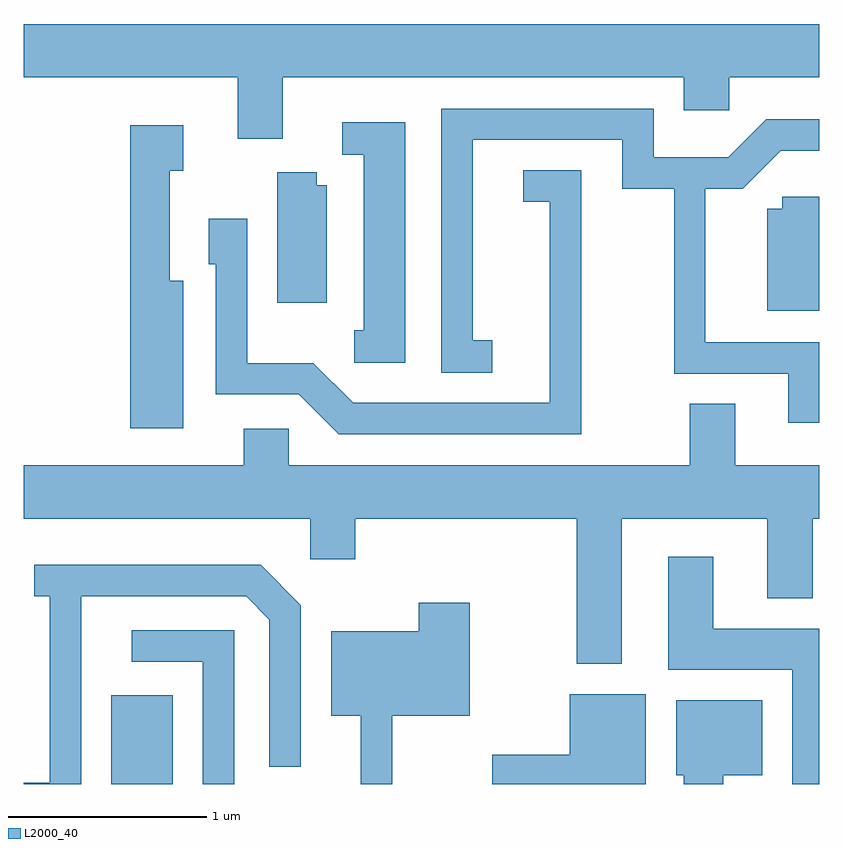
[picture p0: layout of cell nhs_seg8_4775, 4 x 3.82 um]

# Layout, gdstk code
import gdstk
lib = gdstk.Library(unit=1e-6, precision=1e-09)
def R(c, l, rs):  # rectangles x0, y0, x1, y1
    for r in rs: c.add(gdstk.rectangle(r[:2], r[2:], *l))
def P(c, l, *ps):  # polygons
    for p in ps: c.add(gdstk.Polygon(p, *l))
L2000_40 = (2000, 40)

nhs_seg8_4775 = lib.new_cell('nhs_seg8_4775')
R(nhs_seg8_4775, L2000_40, [(328.051,1908.342,328.359,1908.789)])
P(nhs_seg8_4775, L2000_40, [(328.914,1911.896),(330.931,1911.896),(330.931,1911.731),(331.159,1911.731),(331.159,1911.896),(331.611,1911.896),(331.611,1912.164),(327.611,1912.164),(327.611,1911.896),(328.686,1911.896),(328.686,1911.586),(328.914,1911.586)],
  [(331.611,1910.564),(331.039,1910.564),(331.039,1911.336),(331.227,1911.336),(331.417,1911.526),(331.611,1911.526),(331.611,1911.684),(331.344,1911.684),(331.154,1911.494),(330.779,1911.494),(330.779,1911.739),(329.711,1911.739),(329.711,1910.411),(329.968,1910.411),(329.968,1910.574),(329.869,1910.574),(329.869,1911.581),(330.621,1911.581),(330.621,1911.336),(330.881,1911.336),(330.881,1910.406),(331.456,1910.406),(331.456,1910.158),(331.611,1910.158)],
  [(329.529,1911.669),(329.213,1911.669),(329.213,1911.506),(329.321,1911.506),(329.321,1910.624),(329.273,1910.624),(329.273,1910.461),(329.529,1910.461)],
  [(328.414,1910.874),(328.344,1910.874),(328.344,1911.426),(328.414,1911.426),(328.414,1911.654),(328.146,1911.654),(328.146,1910.131),(328.414,1910.131)],
  [(330.414,1911.429),(330.123,1911.429),(330.123,1911.271),(330.256,1911.271),(330.256,1910.259),(329.267,1910.259),(329.067,1910.459),(328.734,1910.459),(328.734,1911.184),(328.541,1911.184),(328.541,1910.956),(328.576,1910.956),(328.576,1910.301),(328.994,1910.301),(329.194,1910.101),(330.414,1910.101)],
  [(329.134,1911.354),(329.084,1911.354),(329.084,1911.419),(328.886,1911.419),(328.886,1910.761),(329.134,1910.761)],
  [(331.611,1911.294),(331.426,1911.294),(331.426,1911.234),(331.351,1911.234),(331.351,1910.721),(331.611,1910.721)],
  [(330.619,1909.676),(331.351,1909.676),(331.351,1909.276),(331.579,1909.276),(331.579,1909.676),(331.611,1909.676),(331.611,1909.944),(331.189,1909.944),(331.189,1910.254),(330.961,1910.254),(330.961,1909.944),(328.944,1909.944),(328.944,1910.129),(328.716,1910.129),(328.716,1909.944),(327.611,1909.944),(327.611,1909.676),(329.051,1909.676),(329.051,1909.471),(329.279,1909.471),(329.279,1909.676),(330.391,1909.676),(330.391,1908.946),(330.619,1908.946)],
  [(331.611,1909.124),(331.079,1909.124),(331.079,1909.484),(330.851,1909.484),(330.851,1908.916),(331.476,1908.916),(331.476,1908.342),(331.611,1908.342)],
  [(327.899,1909.286),(328.729,1909.286),(328.846,1909.169),(328.846,1908.428),(329.004,1908.428),(329.004,1909.242),(328.802,1909.444),(327.663,1909.444),(327.663,1909.286),(327.741,1909.286),(327.741,1908.349),(327.611,1908.349),(327.611,1908.342),(327.899,1908.342)],
  [(329.464,1908.686),(329.854,1908.686),(329.854,1909.254),(329.596,1909.254),(329.596,1909.109),(329.156,1909.109),(329.156,1908.686),(329.306,1908.686),(329.306,1908.342),(329.464,1908.342)],
  [(328.669,1909.114),(328.153,1909.114),(328.153,1908.956),(328.511,1908.956),(328.511,1908.342),(328.669,1908.342)],
  [(330.739,1908.794),(330.356,1908.794),(330.356,1908.489),(329.966,1908.489),(329.966,1908.342),(330.739,1908.342)],
  [(331.129,1908.386),(331.324,1908.386),(331.324,1908.764),(330.891,1908.764),(330.891,1908.386),(330.931,1908.386),(330.931,1908.342),(331.129,1908.342)])

lib.write_gds('nhs_seg8_4775.gds')
